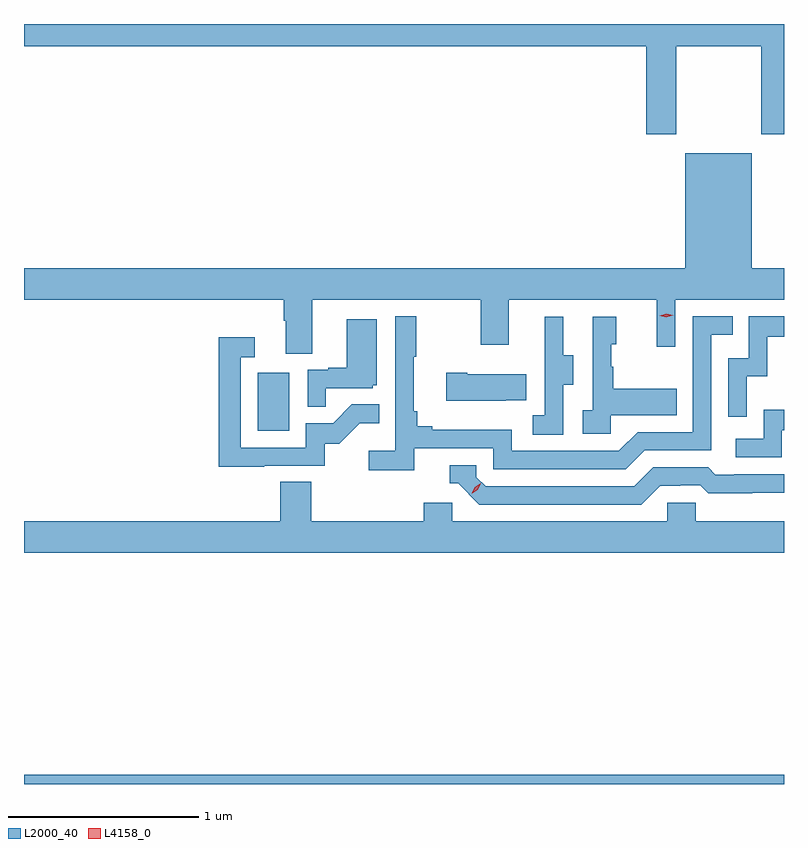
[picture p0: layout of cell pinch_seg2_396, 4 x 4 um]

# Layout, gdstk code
import gdstk
lib = gdstk.Library(unit=1e-6, precision=1e-09)
def R(c, l, rs):  # rectangles x0, y0, x1, y1
    for r in rs: c.add(gdstk.rectangle(r[:2], r[2:], *l))
def P(c, l, *ps):  # polygons
    for p in ps: c.add(gdstk.Polygon(p, *l))
L2000_40 = (2000, 40)
L4158_0 = (4158, 0)

pinch_seg2_396 = lib.new_cell('pinch_seg2_396')
R(pinch_seg2_396, L2000_40, [(963.733,619.778,967.733,619.828), (964.964,621.636,965.128,621.943)])
P(pinch_seg2_396, L2000_40, [(967.167,623.66),(967.612,623.66),(967.612,623.199),(967.733,623.199),(967.733,623.778),(963.733,623.778),(963.733,623.66),(967.007,623.66),(967.007,623.199),(967.167,623.199)],
  [(965.251,622.328),(966.136,622.328),(966.136,622.089),(966.283,622.089),(966.283,622.328),(967.064,622.328),(967.064,622.08),(967.161,622.08),(967.161,622.328),(967.733,622.328),(967.733,622.492),(967.564,622.492),(967.564,623.098),(967.214,623.098),(967.214,622.492),(963.733,622.492),(963.733,622.328),(965.099,622.328),(965.099,622.216),(965.111,622.216),(965.111,622.042),(965.251,622.042)],
  [(965.786,621.546),(966.204,621.546),(966.204,621.435),(966.901,621.435),(967,621.534),(967.35,621.534),(967.35,622.143),(967.463,622.143),(967.463,622.239),(967.254,622.239),(967.254,621.63),(966.963,621.63),(966.864,621.531),(966.3,621.531),(966.3,621.643),(965.881,621.643),(965.881,621.662),(965.804,621.662),(965.804,621.739),(965.785,621.739),(965.785,622.027),(965.797,622.027),(965.797,622.24),(965.688,622.24),(965.688,621.532),(965.547,621.532),(965.547,621.43),(965.786,621.43)],
  [(967.536,621.923),(967.646,621.923),(967.646,622.131),(967.733,622.131),(967.733,622.239),(967.548,622.239),(967.548,622.02),(967.44,622.02),(967.44,621.711),(967.536,621.711)],
  [(966.822,621.719),(967.169,621.719),(967.169,621.859),(966.835,621.859),(966.835,621.974),(966.825,621.974),(966.825,622.092),(966.85,622.092),(966.85,622.237),(966.726,622.237),(966.726,621.746),(966.675,621.746),(966.675,621.621),(966.822,621.621)],
  [(966.57,621.88),(966.625,621.88),(966.625,622.035),(966.571,622.035),(966.571,622.237),(966.473,622.237),(966.473,622.023),(966.474,622.023),(966.474,621.719),(966.411,621.719),(966.411,621.616),(966.57,621.616)],
  [(965.321,621.861),(965.568,621.861),(965.568,621.876),(965.59,621.876),(965.59,622.225),(965.432,622.225),(965.432,621.97),(965.333,621.97),(965.333,621.957),(965.226,621.957),(965.226,621.763),(965.321,621.763)],
  [(964.997,621.453),(965.316,621.453),(965.316,621.57),(965.392,621.57),(965.499,621.677),(965.603,621.677),(965.603,621.776),(965.459,621.776),(965.361,621.678),(965.217,621.678),(965.217,621.549),(964.875,621.549),(964.875,622.023),(964.948,622.023),(964.948,622.129),(964.759,622.129),(964.759,621.448),(964.997,621.448)],
  [(966.269,621.797),(966.377,621.797),(966.377,621.934),(966.067,621.934),(966.067,621.942),(965.955,621.942),(965.955,621.794),(966.269,621.794)],
  [(967.722,621.639),(967.733,621.639),(967.733,621.748),(967.626,621.748),(967.626,621.594),(967.479,621.594),(967.479,621.498),(967.722,621.498)],
  [(967.081,621.348),(967.188,621.348),(967.188,621.351),(967.291,621.351),(967.333,621.309),(967.566,621.309),(967.566,621.311),(967.733,621.311),(967.733,621.408),(967.471,621.408),(967.471,621.405),(967.372,621.405),(967.333,621.444),(967.044,621.444),(966.945,621.345),(966.162,621.345),(966.114,621.393),(966.114,621.456),(965.975,621.456),(965.975,621.36),(966.018,621.36),(966.129,621.249),(966.982,621.249)],
  [(967.733,621.16),(967.269,621.16),(967.269,621.258),(967.119,621.258),(967.119,621.16),(965.988,621.16),(965.988,621.258),(965.837,621.258),(965.837,621.16),(965.246,621.16),(965.246,621.368),(965.081,621.368),(965.081,621.16),(963.733,621.16),(963.733,620.996),(967.733,620.996)])
P(pinch_seg2_396, L4158_0, [(967.114,622.234),(967.078,622.243),(967.078,622.243),(967.078,622.243),(967.114,622.254),(967.15,622.244),(967.15,622.244),(967.15,622.244)],
  [(966.09,621.307),(966.09,621.308),(966.106,621.34),(966.136,621.36),(966.136,621.36),(966.136,621.36),(966.121,621.327),(966.091,621.307)])

lib.write_gds('pinch_seg2_396.gds')
